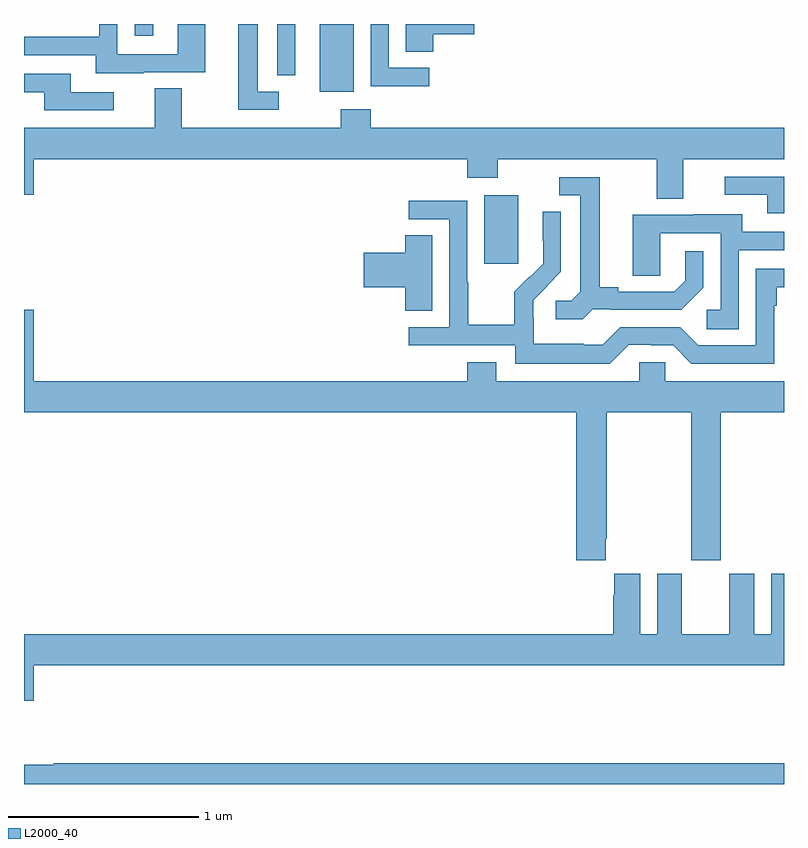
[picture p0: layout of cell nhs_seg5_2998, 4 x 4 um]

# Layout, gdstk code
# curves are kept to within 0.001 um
import gdstk
lib = gdstk.Library(unit=1e-6, precision=1e-09)
def R(c, l, rs):  # rectangles x0, y0, x1, y1
    for r in rs: c.add(gdstk.rectangle(r[:2], r[2:], *l))
def P(c, l, *ps):  # polygons
    for p in ps: c.add(gdstk.Polygon(p, *l))
L2000_40 = (2000, 40)

nhs_seg5_2998 = lib.new_cell('nhs_seg5_2998')
R(nhs_seg5_2998, L2000_40, [(287.423,861.537,287.602,861.898), (286.556,862.442,286.735,862.799), (285.582,862.737,285.679,862.799)])
P(nhs_seg5_2998, L2000_40, [(286.342,862.443),(286.231,862.443),(286.231,862.799),(286.127,862.799),(286.127,862.347),(286.342,862.347)],
  [(287.134,862.569),(286.92,862.569),(286.92,862.799),(286.824,862.799),(286.824,862.471),(287.134,862.471)],
  [(286.428,862.682),(286.427,862.682),(286.427,862.799),(286.332,862.799),(286.332,862.528),(286.428,862.528)],
  [(287.153,862.745),(287.371,862.745),(287.371,862.799),(287.009,862.799),(287.009,862.654),(287.153,862.654)],
  [(285.631,862.545),(285.955,862.545),(285.955,862.799),(285.81,862.799),(285.81,862.641),(285.492,862.641),(285.492,862.799),(285.396,862.799),(285.396,862.731),(285,862.731),(285,862.635),(285.377,862.635),(285.377,862.541),(285.631,862.541)],
  [(285.472,862.44),(285.247,862.44),(285.247,862.536),(285,862.536),(285,862.44),(285.107,862.44),(285.107,862.344),(285.472,862.344)],
  [(288.469,862.088),(289,862.088),(289,862.252),(286.826,862.252),(286.826,862.351),(286.666,862.351),(286.666,862.252),(285.829,862.252),(285.829,862.46),(285.689,862.46),(285.689,862.252),(285,862.252),(285,861.9),(285.052,861.9),(285.052,862.088),(287.333,862.088),(287.333,861.989),(287.493,861.989),(287.493,862.088),(288.329,862.088),(288.329,861.88),(288.469,861.88)],
  [(289,861.996),(288.687,861.996),(288.687,861.9),(288.911,861.9),(288.911,861.804),(289,861.804)],
  [(287.994,861.297),(288.088,861.297),(288.088,861.294),(288.46,861.294),(288.576,861.41),(288.576,861.604),(288.479,861.604),(288.479,861.447),(288.422,861.39),(288.127,861.39),(288.127,861.413),(288.031,861.413),(288.031,861.993),(287.817,861.993),(287.817,861.897),(287.927,861.897),(287.927,861.389),(287.88,861.342),(287.799,861.342),(287.799,861.245),(287.942,861.245)],
  [(288.183,861.111),(288.299,861.111),(288.299,861.108),(288.417,861.108),(288.513,861.012),(288.948,861.012),(288.948,861.317),(288.961,861.317),(288.961,861.414),(289,861.414),(289,861.51),(288.852,861.51),(288.852,861.108),(288.549,861.108),(288.453,861.204),(288.138,861.204),(288.045,861.111),(287.945,861.111),(287.945,861.115),(287.682,861.115),(287.682,861.249),(287.68,861.249),(287.68,861.346),(287.826,861.494),(287.826,861.812),(287.73,861.812),(287.73,861.658),(287.732,861.658),(287.732,861.536),(287.661,861.465),(287.658,861.468),(287.581,861.391),(287.581,861.217),(287.337,861.217),(287.337,861.44),(287.334,861.44),(287.334,861.87),(287.025,861.87),(287.025,861.771),(287.238,861.771),(287.238,861.204),(287.025,861.204),(287.025,861.108),(287.586,861.108),(287.586,861.011),(288.083,861.011)],
  [(288.762,861.609),(289,861.609),(289,861.705),(288.781,861.705),(288.781,861.799),(288.527,861.799),(288.527,861.795),(288.203,861.795),(288.203,861.475),(288.348,861.475),(288.348,861.699),(288.666,861.699),(288.666,861.294),(288.594,861.294),(288.594,861.193),(288.762,861.193)],
  [(287.149,861.686),(287.006,861.686),(287.006,861.596),(286.788,861.596),(286.788,861.413),(287.006,861.413),(287.006,861.289),(287.149,861.289)],
  [(288.511,859.977),(288.666,859.977),(288.666,860.756),(289,860.756),(289,860.92),(288.375,860.92),(288.375,861.018),(288.237,861.018),(288.237,860.92),(287.485,860.92),(287.485,861.019),(287.333,861.019),(287.333,860.92),(285.052,860.92),(285.052,861.295),(285,861.295),(285,860.756),(287.906,860.756),(287.906,859.977),(288.061,859.977),(288.061,860.089),(288.066,860.089),(288.066,860.756),(288.511,860.756)],
  [(285.052,859.424),(289,859.424),(289,859.906),(288.932,859.906),(288.932,859.588),(288.844,859.588),(288.844,859.906),(288.713,859.906),(288.713,859.588),(288.463,859.588),(288.463,859.906),(288.332,859.906),(288.332,859.588),(288.244,859.588),(288.244,859.906),(288.107,859.906),(288.107,859.793),(288.101,859.793),(288.101,859.588),(285,859.588),(285,859.236),(285.052,859.236)],
  [(289,858.908),(285.156,858.908),(285.156,858.901),(285,858.901),(285,858.799),(289,858.799)])

lib.write_gds('nhs_seg5_2998.gds')
